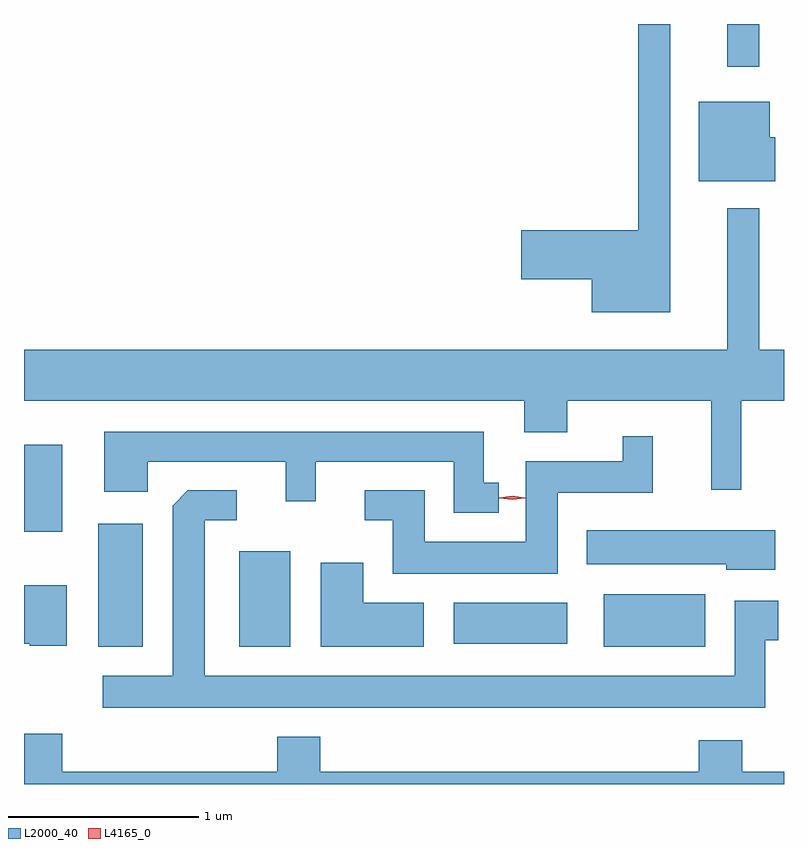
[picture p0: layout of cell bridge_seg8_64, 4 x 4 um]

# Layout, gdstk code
import gdstk
lib = gdstk.Library(unit=1e-6, precision=1e-09)
def R(c, l, rs):  # rectangles x0, y0, x1, y1
    for r in rs: c.add(gdstk.rectangle(r[:2], r[2:], *l))
def P(c, l, *ps):  # polygons
    for p in ps: c.add(gdstk.Polygon(p, *l))
L2000_40 = (2000, 40)
L4165_0 = (4165, 0)

bridge_seg8_64 = lib.new_cell('bridge_seg8_64')
R(bridge_seg8_64, L2000_40, [(1476.621,1930.581,1476.854,1931.229), (1477.361,1930.581,1477.629,1931.084), (1479.281,1930.581,1479.814,1930.859), (1478.491,1930.596,1479.089,1930.814), (1476.229,1931.186,1476.429,1931.644), (1479.931,1933.633,1480.099,1933.859)])
P(bridge_seg8_64, L2000_40, [(1479.629,1933.859),(1479.461,1933.859),(1479.461,1932.774),(1478.846,1932.774),(1478.846,1932.516),(1479.216,1932.516),(1479.216,1932.341),(1479.629,1932.341)],
  [(1480.184,1933.264),(1480.154,1933.264),(1480.154,1933.449),(1479.781,1933.449),(1479.781,1933.031),(1480.184,1933.031)],
  [(1480.004,1931.876),(1480.229,1931.876),(1480.229,1932.144),(1480.099,1932.144),(1480.099,1932.888),(1479.931,1932.888),(1479.931,1932.144),(1476.229,1932.144),(1476.229,1931.876),(1478.861,1931.876),(1478.861,1931.711),(1479.089,1931.711),(1479.089,1931.876),(1479.846,1931.876),(1479.846,1931.408),(1480.004,1931.408)],
  [(1478.728,1931.444),(1478.649,1931.444),(1478.649,1931.714),(1476.651,1931.714),(1476.651,1931.396),(1476.879,1931.396),(1476.879,1931.556),(1477.606,1931.556),(1477.606,1931.348),(1477.764,1931.348),(1477.764,1931.556),(1478.491,1931.556),(1478.491,1931.286),(1478.728,1931.286)],
  [(1479.039,1931.391),(1479.539,1931.391),(1479.539,1931.688),(1479.381,1931.688),(1479.381,1931.559),(1478.871,1931.559),(1478.871,1931.134),(1478.339,1931.134),(1478.339,1931.404),(1478.023,1931.404),(1478.023,1931.246),(1478.171,1931.246),(1478.171,1930.966),(1479.039,1930.966)],
  [(1480.129,1930.616),(1480.199,1930.616),(1480.199,1930.824),(1479.971,1930.824),(1479.971,1930.429),(1477.179,1930.429),(1477.179,1931.246),(1477.348,1931.246),(1477.348,1931.404),(1477.092,1931.404),(1477.011,1931.324),(1477.011,1930.429),(1476.643,1930.429),(1476.643,1930.261),(1480.129,1930.261)],
  [(1480.184,1931.194),(1479.191,1931.194),(1479.191,1931.016),(1479.926,1931.016),(1479.926,1930.986),(1480.184,1930.986)],
  [(1478.334,1930.814),(1478.014,1930.814),(1478.014,1931.024),(1477.791,1931.024),(1477.791,1930.581),(1478.334,1930.581)],
  [(1476.454,1930.904),(1476.229,1930.904),(1476.229,1930.596),(1476.26,1930.596),(1476.26,1930.586),(1476.454,1930.586)],
  [(1480.229,1929.924),(1480.009,1929.924),(1480.009,1930.089),(1479.781,1930.089),(1479.781,1929.924),(1477.789,1929.924),(1477.789,1930.109),(1477.561,1930.109),(1477.561,1929.924),(1476.429,1929.924),(1476.429,1930.124),(1476.229,1930.124),(1476.229,1929.859),(1480.229,1929.859)])
P(bridge_seg8_64, L4165_0, [(1478.798,1931.355),(1478.729,1931.364),(1478.729,1931.365),(1478.729,1931.366),(1478.798,1931.375),(1478.868,1931.366),(1478.868,1931.365),(1478.868,1931.364)])

lib.write_gds('bridge_seg8_64.gds')
